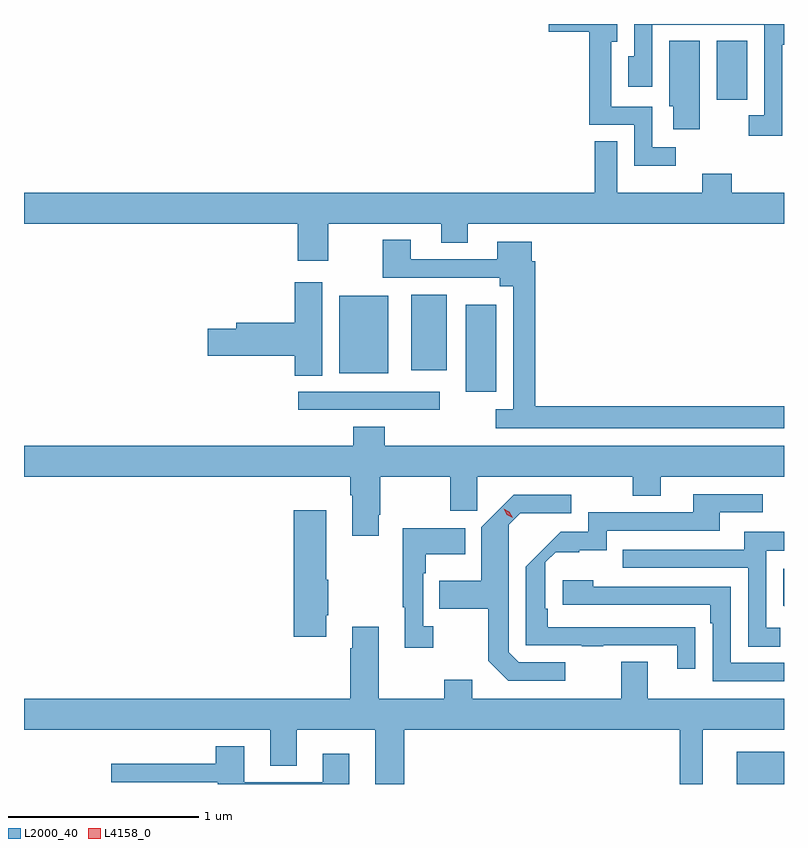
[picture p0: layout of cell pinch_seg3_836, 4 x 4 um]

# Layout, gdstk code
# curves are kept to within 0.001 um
import gdstk
lib = gdstk.Library(unit=1e-6, precision=1e-09)
def R(c, l, rs):  # rectangles x0, y0, x1, y1
    for r in rs: c.add(gdstk.rectangle(r[:2], r[2:], *l))
def P(c, l, *ps):  # polygons
    for p in ps: c.add(gdstk.Polygon(p, *l))
L2000_40 = (2000, 40)
L4158_0 = (4158, 0)

pinch_seg3_836 = lib.new_cell('pinch_seg3_836')
R(pinch_seg3_836, L2000_40, [(685.157,708.623,685.407,708.793), (682.851,710.592,683.596,710.688), (683.732,710.687,683.893,711.145), (683.066,710.786,683.323,711.193), (683.444,710.801,683.632,711.199), (685.052,712.224,685.213,712.535)])
P(pinch_seg3_836, L2000_40, [(685.398,712.514),(685.407,712.514),(685.407,712.623),(684.618,712.623),(684.618,712.452),(684.587,712.452),(684.587,712.293),(684.714,712.293),(684.714,712.62),(685.302,712.62),(685.302,712.143),(685.221,712.143),(685.221,712.035),(685.398,712.035)],
  [(684.838,711.975),(684.714,711.975),(684.714,712.188),(684.499,712.188),(684.499,712.529),(684.529,712.529),(684.529,712.623),(684.168,712.623),(684.168,712.583),(684.381,712.583),(684.381,712.092),(684.618,712.092),(684.618,711.878),(684.838,711.878)],
  [(684.964,712.535),(684.803,712.535),(684.803,712.191),(684.824,712.191),(684.824,712.068),(684.964,712.068)],
  [(683.007,711.572),(683.603,711.572),(683.603,711.473),(683.743,711.473),(683.743,711.572),(685.407,711.572),(685.407,711.736),(685.131,711.736),(685.131,711.835),(684.976,711.835),(684.976,711.736),(684.529,711.736),(684.529,712.007),(684.411,712.007),(684.411,711.736),(681.407,711.736),(681.407,711.572),(682.847,711.572),(682.847,711.378),(683.007,711.378)],
  [(685.407,710.612),(684.098,710.612),(684.098,711.374),(684.079,711.374),(684.079,711.478),(683.897,711.478),(683.897,711.384),(683.443,711.384),(683.443,711.487),(683.296,711.487),(683.296,711.288),(683.912,711.288),(683.912,711.242),(683.982,711.242),(683.982,710.596),(683.889,710.596),(683.889,710.496),(685.407,710.496)],
  [(682.978,711.265),(682.832,711.265),(682.832,711.05),(682.523,711.05),(682.523,711.02),(682.374,711.02),(682.374,710.878),(682.832,710.878),(682.832,710.773),(682.978,710.773)],
  [(683.275,710.041),(683.283,710.041),(683.283,710.24),(683.65,710.24),(683.65,710.062),(683.792,710.062),(683.792,710.24),(684.61,710.24),(684.61,710.141),(684.757,710.141),(684.757,710.24),(685.407,710.24),(685.407,710.404),(683.306,710.404),(683.306,710.503),(683.141,710.503),(683.141,710.404),(681.407,710.404),(681.407,710.24),(683.123,710.24),(683.123,710.144),(683.135,710.144),(683.135,709.929),(683.275,709.929)],
  [(684.941,709.448),(684.164,709.449),(684.164,709.546),(684.15,709.546),(684.15,709.789),(684.205,709.844),(684.329,709.844),(684.329,709.853),(684.474,709.853),(684.474,709.956),(685.069,709.956),(685.069,710.052),(685.294,710.052),(685.294,710.148),(684.929,710.148),(684.929,710.052),(684.378,710.052),(684.378,709.95),(684.232,709.95),(684.048,709.766),(684.048,709.353),(684.343,709.353),(684.343,709.348),(684.455,709.348),(684.455,709.353),(684.845,709.353),(684.845,709.23),(684.941,709.23)],
  [(684.256,709.263),(684.012,709.263),(683.958,709.317),(683.958,709.987),(684.02,710.049),(684.286,710.049),(684.286,710.145),(683.984,710.145),(683.814,709.975),(683.814,709.693),(683.593,709.693),(683.593,709.546),(683.85,709.546),(683.85,709.273),(683.955,709.167),(684.256,709.167)],
  [(682.999,709.51),(683.007,709.51),(683.007,709.699),(682.999,709.699),(682.999,710.065),(682.826,710.065),(682.826,709.398),(682.999,709.398)],
  [(683.56,709.454),(683.508,709.454),(683.508,709.733),(683.521,709.733),(683.521,709.833),(683.729,709.833),(683.729,709.969),(683.4,709.969),(683.4,709.553),(683.411,709.553),(683.411,709.341),(683.56,709.341)],
  [(685.387,709.446),(685.314,709.446),(685.314,709.851),(685.407,709.851),(685.407,709.951),(685.199,709.951),(685.199,709.857),(684.559,709.857),(684.559,709.761),(685.218,709.761),(685.218,709.345),(685.387,709.345)],
  [(685.407,709.756),(685.404,709.756),(685.404,709.562),(685.407,709.559)],
  [(685.407,709.26),(685.128,709.26),(685.128,709.662),(684.404,709.662),(684.404,709.696),(684.243,709.696),(684.243,709.566),(685.019,709.566),(685.019,709.469),(685.032,709.469),(685.032,709.164),(685.407,709.164)],
  [(683.408,708.908),(684.858,708.908),(684.858,708.623),(684.979,708.623),(684.979,708.908),(685.407,708.908),(685.407,709.072),(684.691,709.072),(684.691,709.267),(684.551,709.267),(684.551,709.072),(683.767,709.072),(683.767,709.171),(683.62,709.171),(683.62,709.072),(683.275,709.072),(683.275,709.45),(683.135,709.45),(683.135,709.337),(683.123,709.337),(683.123,709.072),(681.407,709.072),(681.407,708.908),(682.703,708.908),(682.703,708.718),(682.843,708.718),(682.843,708.908),(683.255,708.908),(683.255,708.623),(683.408,708.623)],
  [(683.119,708.781),(682.979,708.781),(682.979,708.633),(682.567,708.633),(682.567,708.823),(682.415,708.823),(682.415,708.73),(681.867,708.73),(681.867,708.633),(682.427,708.633),(682.427,708.623),(683.119,708.623)])
P(pinch_seg3_836, L4158_0, [(683.979,710.025),(683.948,710.041),(683.931,710.072),(683.931,710.072),(683.931,710.072),(683.962,710.056),(683.979,710.025),(683.979,710.025)])

lib.write_gds('pinch_seg3_836.gds')
